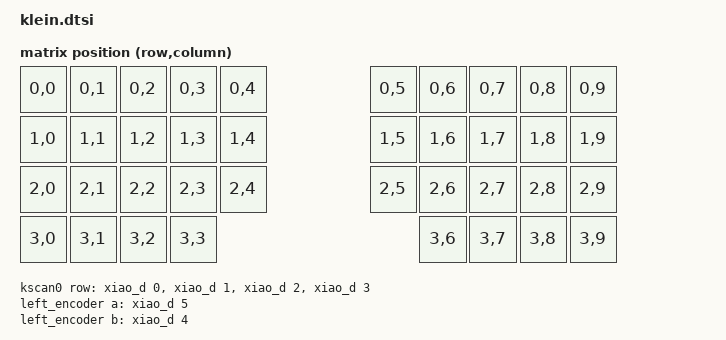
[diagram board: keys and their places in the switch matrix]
/*
 * Copyright (c) 2020 Derek Schmell
 *
 * SPDX-License-Identifier: MIT
 */

#include <dt-bindings/zmk/matrix_transform.h>

/ {
	chosen {
		zmk,kscan = &kscan0;
		zmk,matrix_transform = &default_transform;
	};

	default_transform: keymap_transform_0 {
		compatible = "zmk,matrix-transform";
		columns = <10>;
		rows = <4>;
// | SW0 | SW5 | SW10 | SW15 | SW20 | SW25		             | SW25 | SW20 | SW15 | SW10 | SW5 | SW1 |
// | SW1 | SW6 | SW11 | SW16 | SW21 | SW26		             | SW26 | SW21 | SW16 | SW11 | SW6 | SW2 |
// | SW2 | SW7 | SW12 | SW17 | SW22 | SW27		             | SW27 | SW22 | SW17 | SW12 | SW7 | SW3 |
// | SW3 | SW8 | SW13 | SW18 | SW23 | SW28		             | SW28 | SW23 | SW18 | SW13 | SW8 | SW4 |
// | SW4 | SW9 | SW14 | SW19 | SW24 | SW29                   | SW29 | SW24 | SW19 | SW14 | SW9 | SW5 |
//                                    SW30                   | SW30
		map = <
RC(0,0) RC(0,1) RC(0,2) RC(0,3) RC(0,4)                 RC(0,5) RC(0,6) RC(0,7) RC(0,8) RC(0,9) 
RC(1,0) RC(1,1) RC(1,2) RC(1,3) RC(1,4)                 RC(1,5) RC(1,6) RC(1,7) RC(1,8) RC(1,9) 
RC(2,0) RC(2,1) RC(2,2) RC(2,3) RC(2,4)                 RC(2,5) RC(2,6) RC(2,7) RC(2,8) RC(2,9) 
RC(3,0) RC(3,1) RC(3,2) RC(3,3)                                 RC(3,6) RC(3,7) RC(3,8) RC(3,9)
		>;
	};

	kscan0: kscan {
		compatible = "zmk,kscan-gpio-matrix";
		label = "KSCAN";

		diode-direction = "row2col";
        row-gpios
            = <&xiao_d 0 GPIO_ACTIVE_HIGH>
            , <&xiao_d 1 GPIO_ACTIVE_HIGH>
            , <&xiao_d 2 GPIO_ACTIVE_HIGH>
            , <&xiao_d 3 GPIO_ACTIVE_HIGH>
            ;
	};

	left_encoder: encoder_left {
        compatible = "alps,ec11";
        label = "LEFT_ENCODER";
        a-gpios = <&xiao_d 5 (GPIO_ACTIVE_HIGH | GPIO_PULL_UP)>;
        b-gpios = <&xiao_d 4 (GPIO_ACTIVE_HIGH | GPIO_PULL_UP)>;
        resolution = <4>;
		status = "disabled";
	};

	sensors {
		compatible = "zmk,keymap-sensors";
		sensors = <&left_encoder>;
	};
};

&xiao_i2c {
    status = "disabled";
    glidepoint: glidepoint@2a {
        compatible = "cirque,pinnacle";
        reg = <0x2a>;
        status = "disabled";
        dr-gpios = <&gpio0 9 (GPIO_ACTIVE_HIGH)>;

        sensitivity = "4x";
        // sleep;
        no-taps;
    };
        // Rotation config, from Pete
    // This will change in the future
    // https://discord.com/channels/719497620560543766/845285481888743434/1206407883777114182
    input_config {
        compatible = "zmk,input-configs";
    
        cirque_config {
            device = <&glidepoint>;
            xy-swap;
            y-invert;
            x-invert;
        };
    };
};

/ {
  glidepoint_listener {
    compatible = "zmk,input-listener";
    device = <&glidepoint>;

    xy-swap;
    y-invert;
    x-invert;
  };
};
